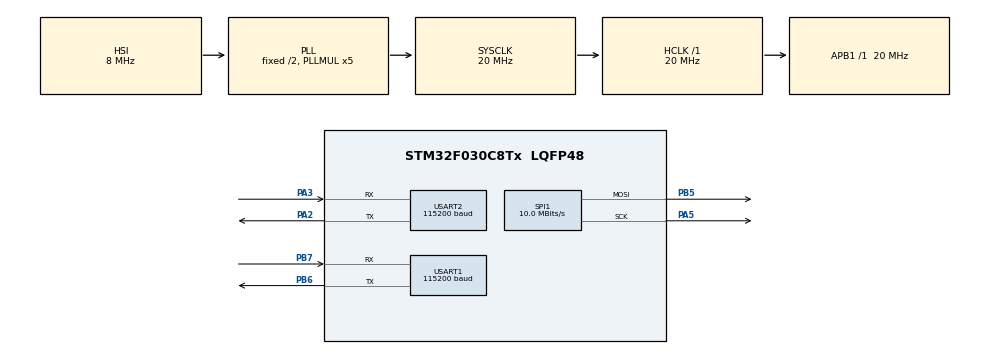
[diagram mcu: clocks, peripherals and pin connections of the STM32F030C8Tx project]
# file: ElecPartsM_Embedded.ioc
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Dma.Request0=SPI1_TX
Dma.SPI1_TX.0.Direction=DMA_MEMORY_TO_PERIPH
Dma.SPI1_TX.0.Instance=DMA1_Channel3
Dma.SPI1_TX.0.MemDataAlignment=DMA_MDATAALIGN_HALFWORD
Dma.SPI1_TX.0.MemInc=DMA_MINC_ENABLE
Dma.SPI1_TX.0.Mode=DMA_NORMAL
Dma.SPI1_TX.0.PeriphDataAlignment=DMA_PDATAALIGN_HALFWORD
Dma.SPI1_TX.0.PeriphInc=DMA_PINC_DISABLE
Dma.SPI1_TX.0.Priority=DMA_PRIORITY_MEDIUM
Mcu.Family=STM32F0
Mcu.Name=STM32F030C8Tx
Mcu.Package=LQFP48
NVIC.DMA1_Channel2_3_IRQn=true\:0\:0\:false\:false\:true\:false\:true\:true
NVIC.TIM1_BRK_UP_TRG_COM_IRQn=true\:0\:0\:false\:false\:true\:true\:true\:true
NVIC.TIM3_IRQn=true\:0\:0\:false\:false\:true\:true\:true\:true
NVIC.USART1_IRQn=true\:0\:0\:false\:false\:true\:true\:true\:true
NVIC.USART2_IRQn=true\:0\:0\:false\:false\:true\:true\:true\:true
PA13.Mode=Serial_Wire
PA13.Signal=SYS_SWDIO
PA14.Mode=Serial_Wire
PA14.Signal=SYS_SWCLK
PA2.Mode=Asynchronous
PA2.Signal=USART2_TX
PA3.Mode=Asynchronous
PA3.Signal=USART2_RX
PA5.Mode=TX_Only_Simplex_Unidirect_Master
PA5.Signal=SPI1_SCK
PB5.Mode=TX_Only_Simplex_Unidirect_Master
PB5.Signal=SPI1_MOSI
PB6.Mode=Asynchronous
PB6.Signal=USART1_TX
PB7.Mode=Asynchronous
PB7.Signal=USART1_RX
ProjectManager.HeapSize=0x200
ProjectManager.StackSize=0x400
ProjectManager.TargetToolchain=MDK-ARM V5.32
RCC.AHBFreq_Value=20000000
RCC.APB1Freq_Value=20000000
RCC.APB1TimFreq_Value=20000000
RCC.HCLKFreq_Value=20000000
RCC.PLLMUL=RCC_PLL_MUL5
RCC.SYSCLKFreq_VALUE=20000000
RCC.SYSCLKSource=RCC_SYSCLKSOURCE_PLLCLK
SPI1.BaudRatePrescaler=SPI_BAUDRATEPRESCALER_2
SPI1.CalculateBaudRate=10.0 MBits/s
SPI1.DataSize=SPI_DATASIZE_9BIT
SPI1.Direction=SPI_DIRECTION_2LINES
SPI1.Mode=SPI_MODE_MASTER
SPI1.NSSPMode=SPI_NSS_PULSE_DISABLE
SPI1.VirtualType=VM_MASTER
TIM1.AutoReloadPreload=TIM_AUTORELOAD_PRELOAD_ENABLE
USART1.BaudRate=115200
USART1.Parity=PARITY_NONE
USART1.VirtualMode-Asynchronous=VM_ASYNC
USART1.WordLength=WORDLENGTH_8B
USART2.BaudRate=115200
USART2.Parity=PARITY_NONE
USART2.VirtualMode-Asynchronous=VM_ASYNC
USART2.WordLength=WORDLENGTH_8B
VP_TIM1_VS_ClockSourceINT.Mode=Internal
VP_TIM3_VS_ClockSourceINT.Mode=Internal
board=custom

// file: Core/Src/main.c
/* USER CODE BEGIN Header */
/**
  ******************************************************************************
  * @file           : main.c
  * @brief          : Main program body
  ******************************************************************************
  * @attention
  *
  * Copyright (c) 2025 STMicroelectronics.
  * All rights reserved.
  *
  * This software is licensed under terms that can be found in the LICENSE file
  * in the root directory of this software component.
  * If no LICENSE file comes with this software, it is provided AS-IS.
  *
  ******************************************************************************
  */
/* USER CODE END Header */
#include "main.h"
#include "dma.h"
#include "spi.h"
#include "tim.h"
#include "usart.h"
#include "gpio.h"

/* USER CODE BEGIN Includes */
#include "WS2812B_Driver.h"
#include "UnitCommute.h"
/* USER CODE END Includes */

/* USER CODE BEGIN PV */
WS2812B ledStrip = {
    .LED_Num = 8,
    .Status = WS2812B_Idle,
    .LEDs = {0}
};

extern uint8_t Uart_ByteReceiveDirection;
extern uint8_t UC_FrameBuf[UC_FRAME_MAX_SIZE];
extern uint8_t RxBuf;
/* USER CODE END PV */

void SystemClock_Config(void);

int main(void)
{

  /* MCU Configuration--------------------------------------------------------*/

  /* Reset of all peripherals, Initializes the Flash interface and the Systick. */
  HAL_Init();

  /* Configure the system clock */
  SystemClock_Config();

  /* Initialize all configured peripherals */
  MX_GPIO_Init();
  MX_DMA_Init();
  MX_SPI1_Init();
  MX_USART1_UART_Init();
  MX_USART2_UART_Init();
  MX_TIM1_Init();
  MX_TIM3_Init();

  /* Infinite loop */
  /* USER CODE BEGIN WHILE */
  while (1)
  {
    if(Uart_ByteReceiveDirection != 0){
      static uint8_t lastReceiveDirection = 0, receiveCount = 0;
      if(receiveCount == 0){
        lastReceiveDirection = Uart_ByteReceiveDirection;
      }
      if(Uart_ByteReceiveDirection == lastReceiveDirection && receiveCount < UC_FRAME_MAX_SIZE){
        if(RxBuf == '\n'){
          ProcessUC_Frame(receiveCount);
          receiveCount = 0;
        }else{
          UC_FrameBuf[receiveCount++] = RxBuf;
        }
      }else{
        receiveCount = 0;
      }
      Uart_ByteReceiveDirection = 0;
    }
    /* USER CODE END WHILE */
  }
}

void SystemClock_Config(void)
{
  RCC_OscInitTypeDef RCC_OscInitStruct = {0};
  RCC_ClkInitTypeDef RCC_ClkInitStruct = {0};
  RCC_PeriphCLKInitTypeDef PeriphClkInit = {0};

  /** Initializes the RCC Oscillators according to the specified parameters
  * in the RCC_OscInitTypeDef structure.
  */
  RCC_OscInitStruct.OscillatorType = RCC_OSCILLATORTYPE_HSI;
  RCC_OscInitStruct.HSIState = RCC_HSI_ON;
  RCC_OscInitStruct.HSICalibrationValue = RCC_HSICALIBRATION_DEFAULT;
  RCC_OscInitStruct.PLL.PLLState = RCC_PLL_ON;
  RCC_OscInitStruct.PLL.PLLSource = RCC_PLLSOURCE_HSI;
  RCC_OscInitStruct.PLL.PLLMUL = RCC_PLL_MUL5;
  RCC_OscInitStruct.PLL.PREDIV = RCC_PREDIV_DIV1;
  if (HAL_RCC_OscConfig(&RCC_OscInitStruct) != HAL_OK)
  {
    Error_Handler();
  }

  /** Initializes the CPU, AHB and APB buses clocks
  */
  RCC_ClkInitStruct.ClockType = RCC_CLOCKTYPE_HCLK|RCC_CLOCKTYPE_SYSCLK
                              |RCC_CLOCKTYPE_PCLK1;
  RCC_ClkInitStruct.SYSCLKSource = RCC_SYSCLKSOURCE_PLLCLK;
  RCC_ClkInitStruct.AHBCLKDivider = RCC_SYSCLK_DIV1;
  RCC_ClkInitStruct.APB1CLKDivider = RCC_HCLK_DIV1;

  if (HAL_RCC_ClockConfig(&RCC_ClkInitStruct, FLASH_LATENCY_0) != HAL_OK)
  {
    Error_Handler();
  }
  PeriphClkInit.PeriphClockSelection = RCC_PERIPHCLK_USART1;
  PeriphClkInit.Usart1ClockSelection = RCC_USART1CLKSOURCE_PCLK1;
  if (HAL_RCCEx_PeriphCLKConfig(&PeriphClkInit) != HAL_OK)
  {
    Error_Handler();
  }
}

void Error_Handler(void)
{
  __disable_irq();
  while (1)
  {
  }
}
